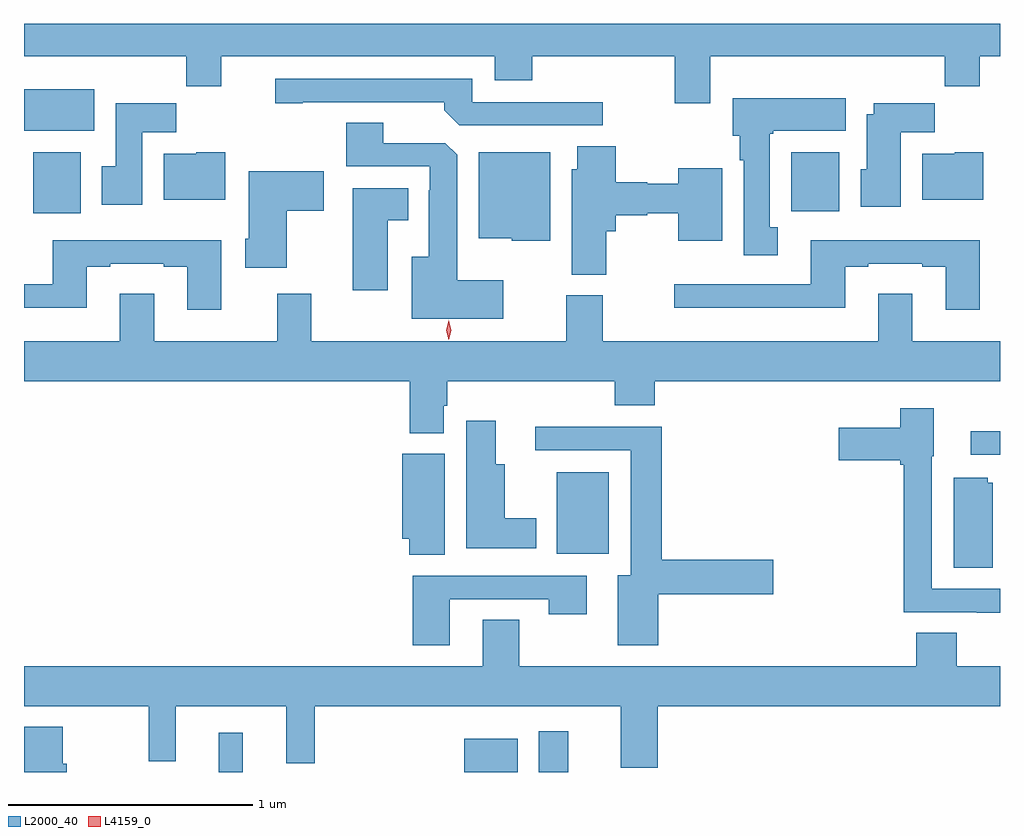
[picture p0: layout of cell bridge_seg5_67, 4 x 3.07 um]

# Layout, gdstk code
import gdstk
lib = gdstk.Library(unit=1e-6, precision=1e-09)
def R(c, l, rs):  # rectangles x0, y0, x1, y1
    for r in rs: c.add(gdstk.rectangle(r[:2], r[2:], *l))
def P(c, l, *ps):  # polygons
    for p in ps: c.add(gdstk.Polygon(p, *l))
L2000_40 = (2000, 40)
L4159_0 = (4159, 0)

bridge_seg5_67 = lib.new_cell('bridge_seg5_67')
R(bridge_seg5_67, L2000_40, [(145.479,912.434,145.576,912.595), (146.485,912.434,146.704,912.571), (146.789,912.434,146.911,912.601), (146.864,913.328,147.076,913.663), (148.56,913.734,148.68,913.831), (144.717,914.724,144.913,914.974), (147.824,914.732,148.021,914.974), (144.68,915.062,144.967,915.232)])
P(bridge_seg5_67, L2000_40, [(147.493,915.368),(148.453,915.368),(148.453,915.244),(148.597,915.244),(148.597,915.368),(148.68,915.368),(148.68,915.5),(144.68,915.5),(144.68,915.368),(145.345,915.368),(145.345,915.244),(145.489,915.244),(145.489,915.368),(146.609,915.368),(146.609,915.269),(146.762,915.269),(146.762,915.368),(147.346,915.368),(147.346,915.174),(147.493,915.174)],
  [(147.052,915.18),(146.517,915.18),(146.517,915.276),(145.71,915.276),(145.71,915.175),(145.822,915.175),(145.822,915.18),(146.402,915.18),(146.402,915.146),(146.463,915.084),(147.052,915.084)],
  [(147.769,914.666),(147.736,914.666),(147.736,915.049),(147.75,915.049),(147.75,915.062),(148.048,915.062),(148.048,915.196),(147.584,915.196),(147.584,915.042),(147.614,915.042),(147.614,914.942),(147.629,914.942),(147.629,914.553),(147.769,914.553)],
  [(148.273,915.056),(148.412,915.056),(148.412,915.175),(148.163,915.175),(148.163,915.13),(148.133,915.13),(148.133,914.904),(148.109,914.904),(148.109,914.75),(148.273,914.75)],
  [(145.165,915.056),(145.304,915.056),(145.304,915.174),(145.055,915.174),(145.055,914.916),(144.998,914.916),(144.998,914.76),(145.165,914.76)],
  [(146.644,914.449),(146.455,914.449),(146.455,914.963),(146.406,915.012),(146.152,915.012),(146.152,915.095),(146,915.095),(146,914.916),(146.343,914.916),(146.343,914.819),(146.339,914.819),(146.339,914.545),(146.27,914.545),(146.27,914.291),(146.644,914.291)],
  [(147.066,914.651),(147.106,914.651),(147.106,914.716),(147.234,914.716),(147.234,914.724),(147.362,914.724),(147.362,914.612),(147.541,914.612),(147.541,914.908),(147.362,914.908),(147.362,914.845),(147.234,914.845),(147.234,914.852),(147.106,914.852),(147.106,914.999),(146.948,914.999),(146.948,914.904),(146.924,914.904),(146.924,914.473),(147.066,914.473)],
  [(148.612,914.974),(148.494,914.974),(148.494,914.968),(148.361,914.968),(148.361,914.78),(148.612,914.78)],
  [(145.504,914.974),(145.386,914.974),(145.386,914.968),(145.253,914.968),(145.253,914.78),(145.504,914.78)],
  [(146.836,914.974),(146.543,914.974),(146.543,914.621),(146.679,914.621),(146.679,914.612),(146.836,914.612)],
  [(145.756,914.734),(145.909,914.734),(145.909,914.896),(145.601,914.896),(145.601,914.619),(145.586,914.619),(145.586,914.501),(145.756,914.501)],
  [(146.17,914.696),(146.254,914.696),(146.254,914.827),(146.027,914.827),(146.027,914.409),(146.17,914.409)],
  [(145.489,914.614),(144.797,914.614),(144.797,914.433),(144.68,914.433),(144.68,914.336),(144.937,914.336),(144.937,914.505),(145.033,914.505),(145.033,914.517),(145.253,914.517),(145.253,914.505),(145.349,914.505),(145.349,914.328),(145.489,914.328)],
  [(148.597,914.614),(147.905,914.614),(147.905,914.433),(147.345,914.433),(147.345,914.336),(148.045,914.336),(148.045,914.505),(148.141,914.505),(148.141,914.517),(148.361,914.517),(148.361,914.505),(148.457,914.505),(148.457,914.328),(148.597,914.328)],
  [(146.401,913.935),(146.414,913.935),(146.414,914.036),(147.101,914.036),(147.101,913.937),(147.266,913.937),(147.266,914.036),(148.68,914.036),(148.68,914.2),(148.321,914.2),(148.321,914.395),(148.181,914.395),(148.181,914.2),(147.051,914.2),(147.051,914.388),(146.903,914.388),(146.903,914.2),(145.858,914.2),(145.858,914.395),(145.718,914.395),(145.718,914.2),(145.213,914.2),(145.213,914.395),(145.073,914.395),(145.073,914.2),(144.68,914.2),(144.68,914.036),(146.261,914.036),(146.261,913.823),(146.401,913.823)],
  [(148.68,913.185),(148.401,913.185),(148.401,913.728),(148.408,913.728),(148.408,913.924),(148.272,913.924),(148.272,913.846),(148.02,913.846),(148.02,913.712),(148.272,913.712),(148.272,913.694),(148.285,913.694),(148.285,913.089),(148.585,913.089),(148.585,913.087),(148.68,913.087)],
  [(146.779,913.474),(146.65,913.474),(146.65,913.696),(146.614,913.696),(146.614,913.873),(146.492,913.873),(146.492,913.352),(146.779,913.352)],
  [(147.28,913.162),(147.751,913.162),(147.751,913.304),(147.293,913.304),(147.293,913.85),(146.775,913.85),(146.775,913.752),(147.167,913.752),(147.167,913.24),(147.113,913.24),(147.113,912.954),(147.28,912.954)],
  [(146.404,913.738),(146.231,913.738),(146.231,913.391),(146.258,913.391),(146.258,913.324),(146.404,913.324)],
  [(148.651,913.62),(148.629,913.62),(148.629,913.641),(148.49,913.641),(148.49,913.272),(148.651,913.272)],
  [(146.425,913.143),(146.83,913.143),(146.83,913.08),(146.986,913.08),(146.986,913.239),(146.273,913.239),(146.273,912.954),(146.425,912.954)],
  [(147.278,912.704),(148.68,912.704),(148.68,912.868),(148.502,912.868),(148.502,913.004),(148.337,913.004),(148.337,912.868),(146.709,912.868),(146.709,913.058),(146.561,913.058),(146.561,912.868),(144.68,912.868),(144.68,912.704),(145.191,912.704),(145.191,912.479),(145.301,912.479),(145.301,912.704),(145.754,912.704),(145.754,912.471),(145.871,912.471),(145.871,912.704),(147.125,912.704),(147.125,912.452),(147.278,912.452)],
  [(144.856,912.468),(144.838,912.468),(144.838,912.619),(144.68,912.619),(144.68,912.434),(144.856,912.434)])
P(bridge_seg5_67, L4159_0, [(146.421,914.205),(146.421,914.205),(146.411,914.245),(146.421,914.286),(146.421,914.286),(146.421,914.286),(146.431,914.245),(146.421,914.205)])

lib.write_gds('bridge_seg5_67.gds')
